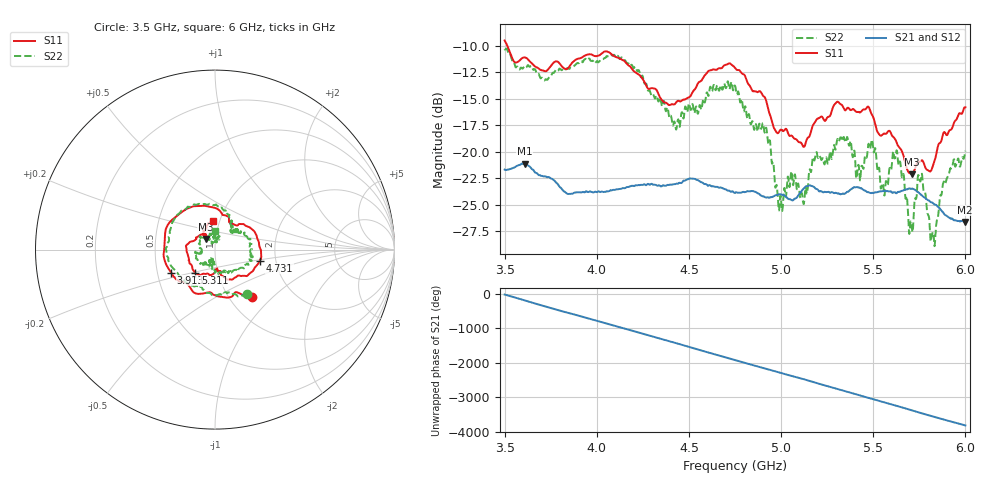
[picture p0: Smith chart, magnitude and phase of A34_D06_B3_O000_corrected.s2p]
! Created with skrf 1.9.0 (http://scikit-rf.org).
# Hz S RI R 50.0
!freq ReS11 ImS11 ReS21 ImS21 ReS12 ImS12 ReS22 ImS22
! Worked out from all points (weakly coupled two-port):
!   1601 points, 3.5 GHz to 6 GHz, reference 50 ohm
!   highest |S21| = -21.12 dB at 3.609 GHz (marker M1); lowest = -26.6 dB at 5.995 GHz (marker M2)
!   lowest |S11| = -22.1 dB at 5.711 GHz (marker M3), VSWR 1.17, Z = 44.8 + j5.3 ohm
!   |S11| at or under -10 dB: 3.515 GHz to end of sweep
!   |S22| runs from -28.9 to -10.3 dB; largest |S21 - S12| = 0.00094
!   S11 on the Smith chart (normalised r, x): 3.5 GHz: 1.28, -0.75; 3.913 GHz: 0.59, -0.16; 4.731 GHz: 1.65, -0.22; 5.311 GHz: 0.78, -0.21; 6 GHz: 0.93, +0.31
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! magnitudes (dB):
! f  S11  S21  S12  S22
! 3.5 GHz  -9.5  -21.7  -21.7  -10.3
! 3.609 GHz  -11.1  -21.1  -21.1  -11.9
! 3.913 GHz  -11.2  -23.8  -23.8  -11.5
! 3.917 GHz  -11.1  -23.8  -23.8  -11.5
! 4.142 GHz  -11.4  -23.4  -23.4  -11.3
! 4.334 GHz  -14.5  -23.2  -23.1  -15.3
! 4.423 GHz  -15.5  -23.1  -23.0  -17.2
! 4.731 GHz  -11.8  -23.8  -23.7  -13.4
! 4.75 GHz  -12.1  -23.9  -23.8  -13.8
! 4.912 GHz  -14.9  -24.3  -24.2  -18.2
! 4.997 GHz  -17.9  -24.0  -24.0  -24.1
! 5.13 GHz  -19.4  -23.4  -23.3  -23.8
! 5.167 GHz  -17.8  -23.2  -23.2  -21.2
! 5.311 GHz  -15.3  -23.9  -23.9  -19.0
! 5.584 GHz  -18.0  -23.7  -23.7  -22.2
! 5.636 GHz  -19.5  -23.8  -23.7  -21.1
! 5.711 GHz  -22.1  -23.5  -23.4  -27.4
! 5.755 GHz  -20.9  -24.0  -23.9  -22.8
! 5.823 GHz  -21.3  -24.8  -24.8  -27.6
! 5.888 GHz  -18.2  -25.9  -25.9  -22.9
! 5.995 GHz  -15.8  -26.6  -26.5  -20.4
! 6 GHz  -15.8  -26.6  -26.5  -19.9
